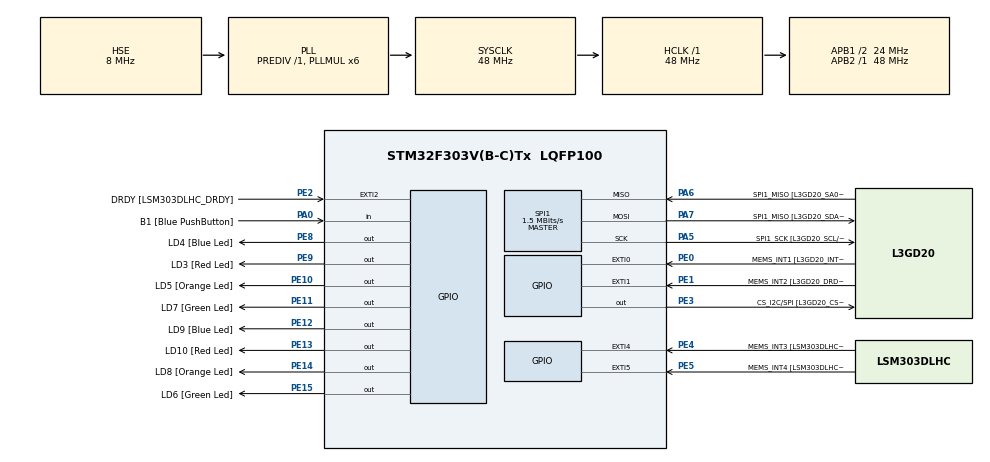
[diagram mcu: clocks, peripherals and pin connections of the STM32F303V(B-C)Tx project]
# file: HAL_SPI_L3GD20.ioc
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Mcu.Family=STM32F3
Mcu.Name=STM32F303V(B-C)Tx
Mcu.Package=LQFP100
NVIC.PriorityGroup=NVIC_PRIORITYGROUP_0
PA0.GPIO_Label=B1 [Blue PushButton]
PA0.Signal=GPIO_Input
PA11.GPIO_Label=DM
PA11.Signal=USB_DM
PA12.GPIO_Label=DP
PA12.Signal=USB_DP
PA13.GPIO_Label=SWDIO
PA13.Mode=Serial_Wire
PA13.Signal=SYS_JTMS-SWDIO
PA14.GPIO_Label=SWCLK
PA14.Mode=Serial_Wire
PA14.Signal=SYS_JTCK-SWCLK
PA5.GPIO_Label=SPI1_SCK [L3GD20_SCL/SPC]
PA5.Mode=Full_Duplex_Master
PA5.Signal=SPI1_SCK
PA6.GPIO_Label=SPI1_MISO [L3GD20_SA0/SDO]
PA6.Mode=Full_Duplex_Master
PA6.Signal=SPI1_MISO
PA7.GPIO_Label=SPI1_MISO [L3GD20_SDA/SDI/SDO]
PA7.Mode=Full_Duplex_Master
PA7.Signal=SPI1_MOSI
PB3.GPIO_Label=SWO
PB3.Signal=SYS_JTDO-TRACESWO
PB6.GPIO_Label=I2C1_SCL [LSM303DLHC_SCL]
PB6.GPIO_Pu=GPIO_PULLUP
PB6.Signal=I2C1_SCL
PB7.GPIO_Label=I2C1_SDA [LSM303DLHC_SDA]
PB7.GPIO_Pu=GPIO_PULLUP
PB7.Signal=I2C1_SDA
PC14-OSC32_IN.GPIO_Label=OSC32_IN
PC14-OSC32_IN.Signal=RCC_OSC32_IN
PC15-OSC32_OUT.GPIO_Label=OSC32_OUT
PC15-OSC32_OUT.Signal=RCC_OSC32_OUT
PE0.GPIO_Label=MEMS_INT1 [L3GD20_INT1]
PE0.GPIO_ModeDefaultEXTI=GPIO_MODE_EVT_RISING
PE0.Signal=GPXTI0
PE1.GPIO_Label=MEMS_INT2 [L3GD20_DRDY/INT2]
PE1.GPIO_ModeDefaultEXTI=GPIO_MODE_EVT_RISING
PE1.Signal=GPXTI1
PE10.GPIO_Label=LD5 [Orange Led]
PE10.Signal=GPIO_Output
PE11.GPIO_Label=LD7 [Green Led]
PE11.Signal=GPIO_Output
PE12.GPIO_Label=LD9 [Blue Led]
PE12.Signal=GPIO_Output
PE13.GPIO_Label=LD10 [Red Led]
PE13.Signal=GPIO_Output
PE14.GPIO_Label=LD8 [Orange Led]
PE14.Signal=GPIO_Output
PE15.GPIO_Label=LD6 [Green Led]
PE15.Signal=GPIO_Output
PE2.GPIO_Label=DRDY [LSM303DLHC_DRDY]
PE2.GPIO_ModeDefaultEXTI=GPIO_MODE_EVT_RISING
PE2.Signal=GPXTI2
PE3.GPIO_Label=CS_I2C/SPI [L3GD20_CS_I2C/SPI]
PE3.Signal=GPIO_Output
PE4.GPIO_Label=MEMS_INT3 [LSM303DLHC_INT1]
PE4.GPIO_ModeDefaultEXTI=GPIO_MODE_EVT_RISING
PE4.Signal=GPXTI4
PE5.GPIO_Label=MEMS_INT4 [LSM303DLHC_INT2]
PE5.GPIO_ModeDefaultEXTI=GPIO_MODE_EVT_RISING
PE5.Signal=GPXTI5
PE8.GPIO_Label=LD4 [Blue Led]
PE8.Signal=GPIO_Output
PE9.GPIO_Label=LD3 [Red Led]
PE9.Signal=GPIO_Output
PF0-OSC_IN.GPIO_Label=OSC_IN
PF0-OSC_IN.Mode=HSE-External-Clock-Source
PF0-OSC_IN.Signal=RCC_OSC_IN
PF1-OSC_OUT.GPIO_Label=OSC_OUT
PF1-OSC_OUT.Signal=RCC_OSC_OUT
ProjectManager.HeapSize=0x200
ProjectManager.StackSize=0x400
ProjectManager.TargetToolchain=STM32CubeIDE
RCC.AHBFreq_Value=48000000
RCC.APB1CLKDivider=RCC_HCLK_DIV2
RCC.APB1Freq_Value=24000000
RCC.APB1TimFreq_Value=48000000
RCC.APB2Freq_Value=48000000
RCC.APB2TimFreq_Value=48000000
RCC.CortexFreq_Value=48000000
RCC.HCLKFreq_Value=48000000
RCC.HSE_VALUE=8000000
RCC.HSI_VALUE=8000000
RCC.LSE_VALUE=32768
RCC.PLLMUL=RCC_PLL_MUL6
RCC.PLLSourceVirtual=RCC_PLLSOURCE_HSE
RCC.SYSCLKFreq_VALUE=48000000
RCC.SYSCLKSourceVirtual=RCC_SYSCLKSOURCE_PLLCLK
RCC.USBFreq_Value=48000000
SPI1.BaudRatePrescaler=SPI_BAUDRATEPRESCALER_32
SPI1.CalculateBaudRate=1.5 MBits/s
SPI1.DataSize=SPI_DATASIZE_8BIT
SPI1.Direction=SPI_DIRECTION_2LINES
SPI1.Mode=SPI_MODE_MASTER
SPI1.NSSPMode=SPI_NSS_PULSE_DISABLE
SPI1.VirtualType=VM_MASTER
board=STM32F3DISCOVERY

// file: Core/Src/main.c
/* USER CODE BEGIN Header */
/**
  ******************************************************************************
  * @file           : main.c
  * @brief          : Main program body
  ******************************************************************************
  * @attention
  *
  * Copyright (c) 2024 STMicroelectronics.
  * All rights reserved.
  *
  * This software is licensed under terms that can be found in the LICENSE file
  * in the root directory of this software component.
  * If no LICENSE file comes with this software, it is provided AS-IS.
  *
  ******************************************************************************
  */
/* USER CODE END Header */
#include "main.h"

SPI_HandleTypeDef hspi1;

/* USER CODE BEGIN PV */
uint8_t received_data[2];
uint8_t temperature;
/* USER CODE END PV */

void SystemClock_Config(void);
static void MX_GPIO_Init(void);
static void MX_SPI1_Init(void);

int main(void)
{

  /* MCU Configuration--------------------------------------------------------*/

  /* Reset of all peripherals, Initializes the Flash interface and the Systick. */
  HAL_Init();

  /* Configure the system clock */
  SystemClock_Config();

  /* Initialize all configured peripherals */
  MX_GPIO_Init();
  MX_SPI1_Init();
  /* USER CODE BEGIN 2 */

  //read the WHO_AM_I REGISTER
  uint8_t sent_data[2];

  __HAL_SPI_ENABLE(&hspi1);

  HAL_GPIO_WritePin(GPIOE, GPIO_PIN_3, DISABLE);

  //THIS FUNCTION IS NOT WORKING TODO:
  //HAL_SPI_TransmitReceive(&hspi1, &sent_data, &received_data, 1, HAL_MAX_DELAY);
  sent_data[0] = (0<<7) | (0x20);
  sent_data[1] = (1<<3) | (1<<1);
  HAL_SPI_Transmit(&hspi1, sent_data, 2, HAL_MAX_DELAY);
  HAL_GPIO_WritePin(GPIOE, GPIO_PIN_3, ENABLE);

  HAL_GPIO_WritePin(GPIOE, GPIO_PIN_3, DISABLE);

  //THIS FUNCTION IS NOT WORKING TODO:
  //HAL_SPI_TransmitReceive(&hspi1, &sent_data, &received_data, 1, HAL_MAX_DELAY);
  sent_data[0] = (0<<7) | (0x23);
  sent_data[1] = (3<<4);
  HAL_SPI_Transmit(&hspi1, sent_data, 2, HAL_MAX_DELAY);
  HAL_GPIO_WritePin(GPIOE, GPIO_PIN_3, ENABLE);

  /* USER CODE END 2 */

  /* Infinite loop */
  /* USER CODE BEGIN WHILE */
  while (1)
  {

	  HAL_GPIO_WritePin(GPIOE, GPIO_PIN_3, DISABLE);
	  sent_data[0] = (1<<7) | (0x29);
	  HAL_SPI_Transmit(&hspi1, sent_data, 1, HAL_MAX_DELAY);
	  HAL_SPI_Receive(&hspi1, received_data, 1, HAL_MAX_DELAY);

	  HAL_GPIO_WritePin(GPIOE, GPIO_PIN_3, ENABLE);
	  HAL_GPIO_WritePin(GPIOE, GPIO_PIN_3, DISABLE);

	  sent_data[0] = (1<<7) | (0x28);
	  HAL_SPI_Transmit(&hspi1, sent_data, 1, HAL_MAX_DELAY);
	  HAL_SPI_Receive(&hspi1, &received_data[1], 1, HAL_MAX_DELAY);

	  HAL_GPIO_WritePin(GPIOE, GPIO_PIN_3, ENABLE);

	  HAL_GPIO_WritePin(GPIOE, GPIO_PIN_3, DISABLE);

	  sent_data[0] = (1<<7) | (0x26);
	  HAL_SPI_Transmit(&hspi1, sent_data, 1, HAL_MAX_DELAY);
	  HAL_SPI_Receive(&hspi1, &temperature, 1, HAL_MAX_DELAY);

	  HAL_GPIO_WritePin(GPIOE, GPIO_PIN_3, ENABLE);

	  HAL_Delay(100);
//	  HAL_Delay(1000);
//
//	  HAL_GPIO_WritePin(GPIOE, GPIO_PIN_3, DISABLE);
//	  sent_data[0] = (1<<7) | (0x20);
//	  HAL_SPI_Transmit(&hspi1, sent_data, 1, HAL_MAX_DELAY);
//	  HAL_SPI_Receive(&hspi1, received_data, 1, HAL_MAX_DELAY);
//
//	  HAL_GPIO_WritePin(GPIOE, GPIO_PIN_3, ENABLE);
//	  HAL_Delay(4000);
    /* USER CODE END WHILE */

  }
}

void SystemClock_Config(void)
{
  RCC_OscInitTypeDef RCC_OscInitStruct = {0};
  RCC_ClkInitTypeDef RCC_ClkInitStruct = {0};

  /** Initializes the RCC Oscillators according to the specified parameters
  * in the RCC_OscInitTypeDef structure.
  */
  RCC_OscInitStruct.OscillatorType = RCC_OSCILLATORTYPE_HSE;
  RCC_OscInitStruct.HSEState = RCC_HSE_BYPASS;
  RCC_OscInitStruct.HSEPredivValue = RCC_HSE_PREDIV_DIV1;
  RCC_OscInitStruct.HSIState = RCC_HSI_ON;
  RCC_OscInitStruct.PLL.PLLState = RCC_PLL_ON;
  RCC_OscInitStruct.PLL.PLLSource = RCC_PLLSOURCE_HSE;
  RCC_OscInitStruct.PLL.PLLMUL = RCC_PLL_MUL6;
  if (HAL_RCC_OscConfig(&RCC_OscInitStruct) != HAL_OK)
  {
    Error_Handler();
  }

  /** Initializes the CPU, AHB and APB buses clocks
  */
  RCC_ClkInitStruct.ClockType = RCC_CLOCKTYPE_HCLK|RCC_CLOCKTYPE_SYSCLK
                              |RCC_CLOCKTYPE_PCLK1|RCC_CLOCKTYPE_PCLK2;
  RCC_ClkInitStruct.SYSCLKSource = RCC_SYSCLKSOURCE_PLLCLK;
  RCC_ClkInitStruct.AHBCLKDivider = RCC_SYSCLK_DIV1;
  RCC_ClkInitStruct.APB1CLKDivider = RCC_HCLK_DIV2;
  RCC_ClkInitStruct.APB2CLKDivider = RCC_HCLK_DIV1;

  if (HAL_RCC_ClockConfig(&RCC_ClkInitStruct, FLASH_LATENCY_1) != HAL_OK)
  {
    Error_Handler();
  }
}

static void MX_SPI1_Init(void)
{

  /* SPI1 parameter configuration*/
  hspi1.Instance = SPI1;
  hspi1.Init.Mode = SPI_MODE_MASTER;
  hspi1.Init.Direction = SPI_DIRECTION_2LINES;
  hspi1.Init.DataSize = SPI_DATASIZE_8BIT;
  hspi1.Init.CLKPolarity = SPI_POLARITY_LOW;
  hspi1.Init.CLKPhase = SPI_PHASE_1EDGE;
  hspi1.Init.NSS = SPI_NSS_SOFT;
  hspi1.Init.BaudRatePrescaler = SPI_BAUDRATEPRESCALER_32;
  hspi1.Init.FirstBit = SPI_FIRSTBIT_MSB;
  hspi1.Init.TIMode = SPI_TIMODE_DISABLE;
  hspi1.Init.CRCCalculation = SPI_CRCCALCULATION_DISABLE;
  hspi1.Init.CRCPolynomial = 7;
  hspi1.Init.CRCLength = SPI_CRC_LENGTH_DATASIZE;
  hspi1.Init.NSSPMode = SPI_NSS_PULSE_DISABLE;
  if (HAL_SPI_Init(&hspi1) != HAL_OK)
  {
    Error_Handler();
  }

}

static void MX_GPIO_Init(void)
{
  GPIO_InitTypeDef GPIO_InitStruct = {0};

  /* GPIO Ports Clock Enable */
  __HAL_RCC_GPIOE_CLK_ENABLE();
  __HAL_RCC_GPIOC_CLK_ENABLE();
  __HAL_RCC_GPIOF_CLK_ENABLE();
  __HAL_RCC_GPIOA_CLK_ENABLE();
  __HAL_RCC_GPIOB_CLK_ENABLE();

  /*Configure GPIO pin Output Level */
  HAL_GPIO_WritePin(GPIOE, CS_I2C_SPI_Pin|LD4_Pin|LD3_Pin|LD5_Pin
                          |LD7_Pin|LD9_Pin|LD10_Pin|LD8_Pin
                          |LD6_Pin, GPIO_PIN_RESET);

  /*Configure GPIO pins : DRDY_Pin MEMS_INT3_Pin MEMS_INT4_Pin MEMS_INT1_Pin
                           MEMS_INT2_Pin */
  GPIO_InitStruct.Pin = DRDY_Pin|MEMS_INT3_Pin|MEMS_INT4_Pin|MEMS_INT1_Pin
                          |MEMS_INT2_Pin;
  GPIO_InitStruct.Mode = GPIO_MODE_EVT_RISING;
  GPIO_InitStruct.Pull = GPIO_NOPULL;
  HAL_GPIO_Init(GPIOE, &GPIO_InitStruct);

  /*Configure GPIO pins : CS_I2C_SPI_Pin LD4_Pin LD3_Pin LD5_Pin
                           LD7_Pin LD9_Pin LD10_Pin LD8_Pin
                           LD6_Pin */
  GPIO_InitStruct.Pin = CS_I2C_SPI_Pin|LD4_Pin|LD3_Pin|LD5_Pin
                          |LD7_Pin|LD9_Pin|LD10_Pin|LD8_Pin
                          |LD6_Pin;
  GPIO_InitStruct.Mode = GPIO_MODE_OUTPUT_PP;
  GPIO_InitStruct.Pull = GPIO_NOPULL;
  GPIO_InitStruct.Speed = GPIO_SPEED_FREQ_LOW;
  HAL_GPIO_Init(GPIOE, &GPIO_InitStruct);

  /*Configure GPIO pin : B1_Pin */
  GPIO_InitStruct.Pin = B1_Pin;
  GPIO_InitStruct.Mode = GPIO_MODE_INPUT;
  GPIO_InitStruct.Pull = GPIO_NOPULL;
  HAL_GPIO_Init(B1_GPIO_Port, &GPIO_InitStruct);

  /*Configure GPIO pins : DM_Pin DP_Pin */
  GPIO_InitStruct.Pin = DM_Pin|DP_Pin;
  GPIO_InitStruct.Mode = GPIO_MODE_AF_PP;
  GPIO_InitStruct.Pull = GPIO_NOPULL;
  GPIO_InitStruct.Speed = GPIO_SPEED_FREQ_HIGH;
  GPIO_InitStruct.Alternate = GPIO_AF14_USB;
  HAL_GPIO_Init(GPIOA, &GPIO_InitStruct);

  /*Configure GPIO pins : I2C1_SCL_Pin I2C1_SDA_Pin */
  GPIO_InitStruct.Pin = I2C1_SCL_Pin|I2C1_SDA_Pin;
  GPIO_InitStruct.Mode = GPIO_MODE_AF_OD;
  GPIO_InitStruct.Pull = GPIO_PULLUP;
  GPIO_InitStruct.Speed = GPIO_SPEED_FREQ_HIGH;
  GPIO_InitStruct.Alternate = GPIO_AF4_I2C1;
  HAL_GPIO_Init(GPIOB, &GPIO_InitStruct);

}

void Error_Handler(void)
{
  __disable_irq();
  while (1)
  {
  }
}
